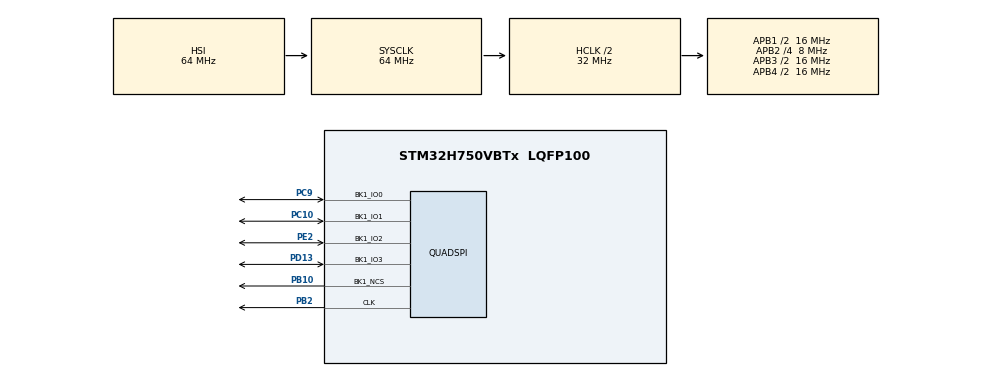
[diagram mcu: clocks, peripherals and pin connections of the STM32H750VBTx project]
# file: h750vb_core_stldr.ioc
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Mcu.Family=STM32H7
RCC.PLLSourceVirtual=RCC_PLLSOURCE_HSE
RCC.CortexFreq_Value=64000000
PB10.GPIO_Speed=GPIO_SPEED_FREQ_VERY_HIGH
QUADSPI.ClockPrescaler=1
PB10.Mode=Single Bank 1
RCC.HPRE=RCC_HCLK_DIV2
PH0-OSC_IN\ (PH0).Signal=RCC_OSC_IN
PC10.Signal=QUADSPI_BK1_IO1
PC15-OSC32_OUT\ (OSC32_OUT).Mode=LSE-External-Oscillator
PB2.GPIO_Speed=GPIO_SPEED_FREQ_VERY_HIGH
PE2.GPIO_Speed=GPIO_SPEED_FREQ_VERY_HIGH
PC10.Mode=Single Bank 1
RCC.D2PPRE2=RCC_APB2_DIV4
RCC.D2PPRE1=RCC_APB1_DIV2
PC10.GPIO_Speed=GPIO_SPEED_FREQ_VERY_HIGH
PH1-OSC_OUT\ (PH1).Signal=RCC_OSC_OUT
ProjectManager.StackSize=0x400
PD13.Signal=QUADSPI_BK1_IO3
ProjectManager.TargetToolchain=STM32CubeIDE
PC15-OSC32_OUT\ (OSC32_OUT).Signal=RCC_OSC32_OUT
RCC.HCLKFreq_Value=32000000
PE2.Mode=Single Bank 1
PD13.Mode=Single Bank 1
RCC.DIVN1=80
RCC.USBFreq_Value=480000000
QUADSPI.FlashSize=28
PB10.Signal=QUADSPI_BK1_NCS
PH1-OSC_OUT\ (PH1).Mode=HSE-External-Oscillator
RCC.HSE_VALUE=24000000
PB2.Signal=QUADSPI_CLK
board=custom
PD13.GPIO_Speed=GPIO_SPEED_FREQ_VERY_HIGH
RCC.DIVM1=2
RCC.APB2Freq_Value=8000000
RCC.ADCFreq_Value=48375000
PC9.Mode=Single Bank 1
PE2.Signal=QUADSPI_BK1_IO2
QUADSPI.SampleShifting=QSPI_SAMPLE_SHIFTING_HALFCYCLE
Mcu.Name=STM32H750VBTx
RCC.APB3Freq_Value=16000000
RCC.SYSCLKFreq_VALUE=64000000
Mcu.Package=LQFP100
RCC.D1PPRE=RCC_APB3_DIV2
PC14-OSC32_IN\ (OSC32_IN).Signal=RCC_OSC32_IN
PB2.Mode=Single Bank 1
ProjectManager.HeapSize=0x200
PC9.GPIO_Speed=GPIO_SPEED_FREQ_VERY_HIGH
NVIC.PriorityGroup=NVIC_PRIORITYGROUP_4
PC14-OSC32_IN\ (OSC32_IN).Mode=LSE-External-Oscillator
RCC.APB4Freq_Value=16000000
RCC.D3PPRE=RCC_APB4_DIV2
PC9.Signal=QUADSPI_BK1_IO0
RCC.APB1Freq_Value=16000000
PH0-OSC_IN\ (PH0).Mode=HSE-External-Oscillator

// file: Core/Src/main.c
/* USER CODE BEGIN Header */
/**
  ******************************************************************************
  * @file           : main.c
  * @brief          : Main program body
  ******************************************************************************
  * @attention
  *
  * <h2><center>&copy; Copyright (c) 2020 STMicroelectronics.
  * All rights reserved.</center></h2>
  *
  * This software component is licensed by ST under BSD 3-Clause license,
  * the "License"; You may not use this file except in compliance with the
  * License. You may obtain a copy of the License at:
  *                        opensource.org/licenses/BSD-3-Clause
  *
  ******************************************************************************
  */
/* USER CODE END Header */

#include "main.h"
#include "quadspi.h"
#include "gpio.h"

/* USER CODE BEGIN Includes */
#include "spidriver.h"

/* USER CODE END Includes */

void SystemClock_Config(void);

/* USER CODE BEGIN 0 */

void PatchSWD(){
	  *(__IO uint32_t*)(0x5C001004) |= 0x00700000; // DBGMCU_CR D3DBGCKEN D1DBGCKEN TRACECLKEN

	  //UNLOCK FUNNEL
	  *(__IO uint32_t*)(0x5C004FB0) = 0xC5ACCE55; // SWTF_LAR
	  *(__IO uint32_t*)(0x5C003FB0) = 0xC5ACCE55; // SWO_LAR

	  //SWO current output divisor register
	  //This divisor value (0x000000C7) corresponds to 400Mhz
	  //To change it, you can use the following rule
	  // value = (CPU Freq/sw speed )-1
	   *(__IO uint32_t*)(0x5C003010) = ((SystemCoreClock / 2000000) - 1); // SWO_CODR

	  //SWO selected pin protocol register
	   *(__IO uint32_t*)(0x5C0030F0) = 0x00000002; // SWO_SPPR

	  //Enable ITM input of SWO trace funnel
	   *(__IO uint32_t*)(0x5C004000) |= 0x00000001; // SWFT_CTRL

	  //RCC_AHB4ENR enable GPIOB clock
	   *(__IO uint32_t*)(0x580244E0) |= 0x00000002;

	  // Configure GPIOB pin 3 as AF
	   *(__IO uint32_t*)(0x58020400) = (*(__IO uint32_t*)(0x58020400) & 0xffffff3f) | 0x00000080;

	  // Configure GPIOB pin 3 Speed
	   *(__IO uint32_t*)(0x58020408) |= 0x00000080;

	  // Force AF0 for GPIOB pin 3
	   *(__IO uint32_t*)(0x58020420) &= 0xFFFF0FFF;

}
/* USER CODE END 0 */

int main(void)
{
  /* USER CODE BEGIN 1 */
  PatchSWD();

  /* USER CODE END 1 */

  /* MCU Configuration--------------------------------------------------------*/

  /* Reset of all peripherals, Initializes the Flash interface and the Systick. */
  HAL_Init();

  /* Configure the system clock */
  SystemClock_Config();

  /* Initialize all configured peripherals */
  MX_GPIO_Init();
  MX_QUADSPI_Init();

  /* Infinite loop */
  /* USER CODE BEGIN WHILE */

#ifdef DEBUG
  uint32_t id = 0;
  uint8_t br=32;
  uint8_t bufW[256];
  uint8_t bufR[256];
  uint32_t addr =0x90000000;

  for(uint8_t i=0;i<255;i++){
	  bufW[i] = 255-i;
  }

//  sFLASH_InstanceCmd1(QSPICMD_ENTER_WRITE);
//  QSPI_AutoPollingMemReady();
//  sFLASH_SetReg1(QSPICMD_SETREG_STATUS, 0x40);
//  QSPI_AutoPollingMemReady();
//  sFLASH_InstanceCmd1(QSPICMD_ENTER_WRITE);
//  QSPI_AutoPollingMemReady();

  sFLASH_Init();

//  sFLASH_EraseBulk();
////  sFLASH_EraseSector(0);
//  sFLASH_WritePage(bufW, 0x0, 256);
//  sFLASH_ReadBuffer(bufR, 0x00, 256);
  sFLASH_MemoryMapped();

  while (1)
  {
    /* USER CODE END WHILE */

    /* USER CODE BEGIN 3 */
	  HAL_Delay(1000);

//	  for(int i=0;i<4;i++){
////		  printf("address:0x%x\t%d \n",addr+i,*(uint8_t*)(addr+i));
//	  }
  }
#endif
  /* USER CODE END 3 */
}

void SystemClock_Config(void)
{
  RCC_OscInitTypeDef RCC_OscInitStruct = {0};
  RCC_ClkInitTypeDef RCC_ClkInitStruct = {0};
  RCC_PeriphCLKInitTypeDef PeriphClkInitStruct = {0};

  /** Supply configuration update enable
  */
  HAL_PWREx_ConfigSupply(PWR_LDO_SUPPLY);
  /** Configure the main internal regulator output voltage
  */
  __HAL_PWR_VOLTAGESCALING_CONFIG(PWR_REGULATOR_VOLTAGE_SCALE3);

  while(!__HAL_PWR_GET_FLAG(PWR_FLAG_VOSRDY)) {}
  /** Initializes the CPU, AHB and APB busses clocks
  */
  RCC_OscInitStruct.OscillatorType = RCC_OSCILLATORTYPE_HSI;
  RCC_OscInitStruct.HSIState = RCC_HSI_DIV1;
  RCC_OscInitStruct.HSICalibrationValue = RCC_HSICALIBRATION_DEFAULT;
  RCC_OscInitStruct.PLL.PLLState = RCC_PLL_NONE;
  if (HAL_RCC_OscConfig(&RCC_OscInitStruct) != HAL_OK)
  {
    Error_Handler();
  }
  /** Initializes the CPU, AHB and APB busses clocks
  */
  RCC_ClkInitStruct.ClockType = RCC_CLOCKTYPE_HCLK|RCC_CLOCKTYPE_SYSCLK
                              |RCC_CLOCKTYPE_PCLK1|RCC_CLOCKTYPE_PCLK2
                              |RCC_CLOCKTYPE_D3PCLK1|RCC_CLOCKTYPE_D1PCLK1;
  RCC_ClkInitStruct.SYSCLKSource = RCC_SYSCLKSOURCE_HSI;
  RCC_ClkInitStruct.SYSCLKDivider = RCC_SYSCLK_DIV1;
  RCC_ClkInitStruct.AHBCLKDivider = RCC_HCLK_DIV2;
  RCC_ClkInitStruct.APB3CLKDivider = RCC_APB3_DIV2;
  RCC_ClkInitStruct.APB1CLKDivider = RCC_APB1_DIV2;
  RCC_ClkInitStruct.APB2CLKDivider = RCC_APB2_DIV4;
  RCC_ClkInitStruct.APB4CLKDivider = RCC_APB4_DIV2;

  if (HAL_RCC_ClockConfig(&RCC_ClkInitStruct, FLASH_LATENCY_0) != HAL_OK)
  {
    Error_Handler();
  }
  PeriphClkInitStruct.PeriphClockSelection = RCC_PERIPHCLK_QSPI;
  PeriphClkInitStruct.QspiClockSelection = RCC_QSPICLKSOURCE_D1HCLK;
  if (HAL_RCCEx_PeriphCLKConfig(&PeriphClkInitStruct) != HAL_OK)
  {
    Error_Handler();
  }
}

/* USER CODE BEGIN 4 */

int __io_putchar(int ch){
    ITM_SendChar(ch);
    return 0;
}
/* USER CODE END 4 */

void Error_Handler(void)
{
  /* USER CODE BEGIN Error_Handler_Debug */
  /* User can add his own implementation to report the HAL error return state */
#ifdef DEBUG
	printf("in error handler\n");
#endif

  /* USER CODE END Error_Handler_Debug */
}

/************************ (C) COPYRIGHT STMicroelectronics *****END OF FILE****/
